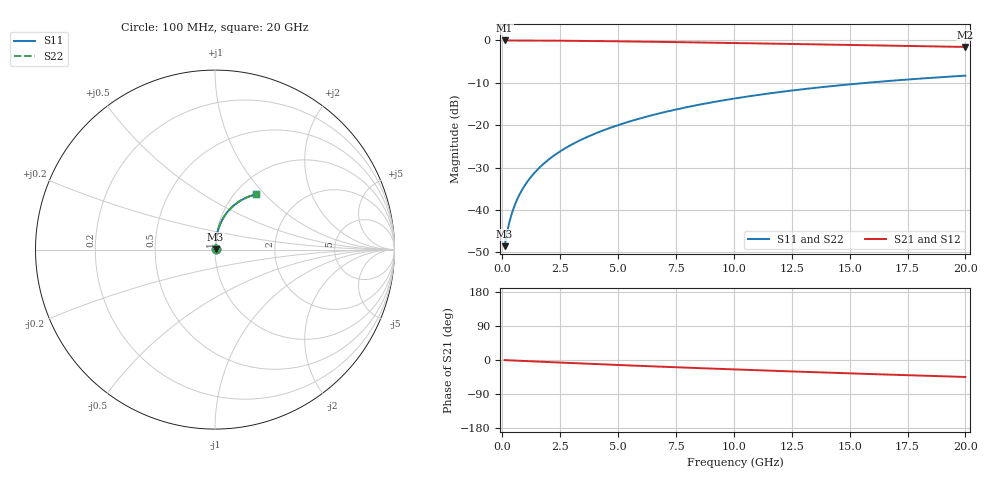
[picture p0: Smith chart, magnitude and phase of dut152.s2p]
! Touchstone file exported from HFSS 2024.1.0
!  File:  C:/UserFiles/LocalFiles/RDL_TSV_Batchsim/temp_RDL_bottom_152_1778697400.aedt
!  Generated:  02:39:21 AM May 14, 2026
!  Design:  RDL_bottom
!  Project:  temp_RDL_bottom_152_1778697400
!  Setup:  Setup1
!  Solution:  Sweep
! Variables:
!  dtsv = 10.80580581um
!  hbump = 3um
!  htsv = 68.17um
!  ldown = 659.29um
!  lrdl = 100um
!  p = 40
!  p1 = 47.02um
!  rhole = 1um
!  t = 450um
!  tdown = 3.84um
!  trdl = 3.915915916um
!  wdown = 21.18um
!  wrdl = 20um
# GHz S MA R 50.000000
! Terminal data exported
! Port[1] = RDL1_T1
! Port[2] = RDL1_T2
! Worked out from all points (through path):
!   200 points, 100 MHz to 20 GHz, reference 50 ohm
!   highest |S21| = -0.03 dB at 100 MHz (marker M1); lowest = -1.6 dB at 20 GHz (marker M2)
!   group delay of S21, straight-line fit = 6.17 ps
!   lowest |S11| = -48.6 dB at 100 MHz (marker M3), VSWR 1.01, Z = 50.3 + j0.217 ohm
!   |S11| at or under -10 dB: start of sweep to 15.77 GHz
!   |S22| runs from -48.6 to -8.3 dB; largest |S21 - S12| = 3.3e-15
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0.1  0.003735 35.3  0.9969 -0.3  0.9969 -0.3  0.003735 35.3
! Gamma 0 0 0 0
! Port Impedance 50 0 50 0
0.2  0.005309 52.8  0.9968 -0.6  0.9968 -0.6  0.00531 52.8
0.3  0.00707 61.4  0.9966 -0.8  0.9966 -0.8  0.00707 61.4
0.4  0.008866 66.5  0.9963 -1.1  0.9963 -1.1  0.008866 66.5
0.5  0.01068 70.0  0.9962 -1.4  0.9962 -1.4  0.01068 70.0
0.6  0.01251 72.5  0.996 -1.7  0.996 -1.7  0.01251 72.5
0.8  0.01621 76.0  0.9956 -2.2  0.9956 -2.2  0.01621 76.0
1.1  0.02186 79.0  0.995 -3.0  0.995 -3.0  0.02186 79.0
1.3  0.02568 80.2  0.9945 -3.5  0.9945 -3.5  0.02568 80.2
1.6  0.03145 81.5  0.9936 -4.3  0.9936 -4.3  0.03145 81.5
2.1  0.04118 82.5  0.9918 -5.7  0.9918 -5.7  0.04118 82.5
2.7  0.05303 83.0  0.989 -7.3  0.989 -7.3  0.05303 83.0
3.5  0.06909 83.0  0.9845 -9.3  0.9845 -9.3  0.06909 83.0
4.2  0.08339 82.5  0.98 -11.1  0.98 -11.1  0.08338 82.5
5  0.09998 81.7  0.9741 -13.2  0.9741 -13.2  0.09996 81.7
6.8  0.138 79.1  0.9593 -17.5  0.9593 -17.5  0.1379 79.1
8.4  0.1719 76.3  0.945 -21.2  0.945 -21.2  0.1719 76.3
10.1  0.2075 73.0  0.9293 -25.0  0.9293 -25.0  0.2075 73.0
11.7  0.24 69.8  0.9141 -28.5  0.9141 -28.5  0.24 69.8
13.4  0.2731 66.3  0.898 -32.0  0.898 -32.0  0.273 66.3
16.7  0.332 59.7  0.8666 -38.6  0.8666 -38.6  0.3319 59.7
20  0.3832 53.3  0.836 -44.8  0.836 -44.8  0.3831 53.3
